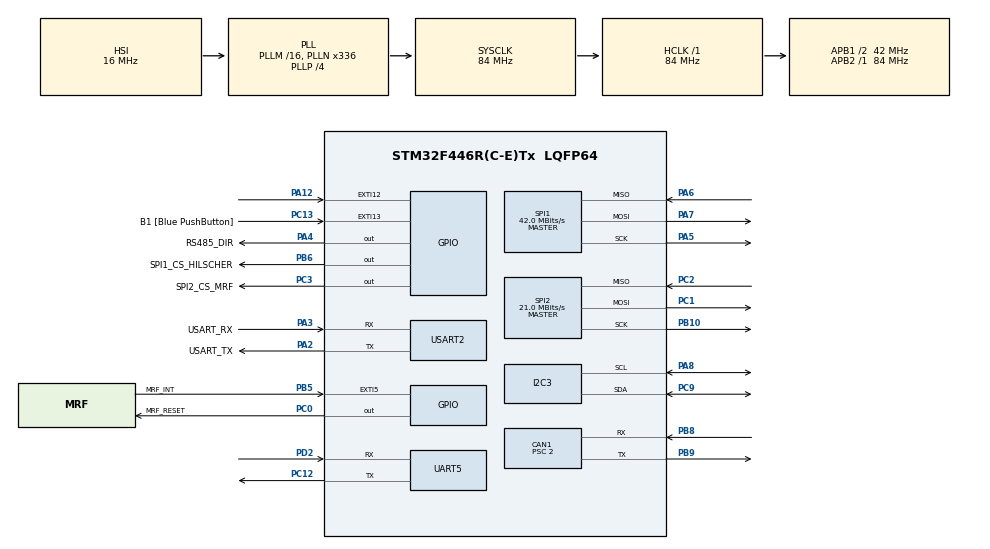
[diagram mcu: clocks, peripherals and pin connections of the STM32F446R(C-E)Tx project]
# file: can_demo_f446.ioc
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CAN1.BS1=CAN_BS1_12TQ
CAN1.BS2=CAN_BS2_8TQ
CAN1.CalculateBaudRate=1000000
CAN1.CalculateTimeBit=1000
CAN1.CalculateTimeQuantum=47.61904761904762
CAN1.Prescaler=2
CAN1.SJW=CAN_SJW_1TQ
Dma.Request0=UART5_RX
Dma.UART5_RX.0.Direction=DMA_PERIPH_TO_MEMORY
Dma.UART5_RX.0.FIFOMode=DMA_FIFOMODE_DISABLE
Dma.UART5_RX.0.Instance=DMA1_Stream0
Dma.UART5_RX.0.MemDataAlignment=DMA_MDATAALIGN_BYTE
Dma.UART5_RX.0.MemInc=DMA_MINC_ENABLE
Dma.UART5_RX.0.Mode=DMA_NORMAL
Dma.UART5_RX.0.PeriphDataAlignment=DMA_PDATAALIGN_BYTE
Dma.UART5_RX.0.PeriphInc=DMA_PINC_DISABLE
Dma.UART5_RX.0.Priority=DMA_PRIORITY_LOW
Mcu.Family=STM32F4
Mcu.Name=STM32F446R(C-E)Tx
Mcu.Package=LQFP64
NVIC.CAN1_RX0_IRQn=true\:0\:0\:false\:false\:true\:true\:true\:true
NVIC.DMA1_Stream0_IRQn=true\:0\:0\:false\:false\:true\:false\:true\:true
NVIC.EXTI9_5_IRQn=true\:0\:0\:false\:false\:true\:true\:true\:true
NVIC.I2C3_EV_IRQn=true\:0\:0\:false\:false\:true\:true\:true\:true
NVIC.PriorityGroup=NVIC_PRIORITYGROUP_0
NVIC.USART2_IRQn=true\:0\:0\:false\:false\:true\:true\:true\:true
PA0-WKUP.Signal=UART4_TX
PA1.Signal=UART4_RX
PA12.Signal=GPXTI12
PA13.GPIO_Label=TMS
PA13.Mode=Serial_Wire
PA13.Signal=SYS_JTMS-SWDIO
PA14.GPIO_Label=TCK
PA14.Mode=Serial_Wire
PA14.Signal=SYS_JTCK-SWCLK
PA2.GPIO_Label=USART_TX
PA2.Mode=Asynchronous
PA2.Signal=USART2_TX
PA3.GPIO_Label=USART_RX
PA3.Mode=Asynchronous
PA3.Signal=USART2_RX
PA4.GPIO_Label=RS485_DIR
PA4.Signal=GPIO_Output
PA5.Mode=Full_Duplex_Master
PA5.Signal=SPI1_SCK
PA6.Mode=Full_Duplex_Master
PA6.Signal=SPI1_MISO
PA7.Mode=Full_Duplex_Master
PA7.Signal=SPI1_MOSI
PA8.Mode=I2C
PA8.Signal=I2C3_SCL
PB10.Mode=Full_Duplex_Master
PB10.Signal=SPI2_SCK
PB5.GPIO_Label=MRF_INT
PB5.GPIO_ModeDefaultEXTI=GPIO_MODE_IT_RISING
PB5.Signal=GPXTI5
PB6.GPIO_Label=SPI1_CS_HILSCHER
PB6.Signal=GPIO_Output
PB8.Mode=CAN_Activate
PB8.Signal=CAN1_RX
PB9.Mode=CAN_Activate
PB9.Signal=CAN1_TX
PC0.GPIO_Label=MRF_RESET
PC0.Signal=GPIO_Output
PC1.Mode=Full_Duplex_Master
PC1.Signal=SPI2_MOSI
PC12.Mode=Asynchronous
PC12.Signal=UART5_TX
PC13.GPIO_Label=B1 [Blue PushButton]
PC13.GPIO_ModeDefaultEXTI=GPIO_MODE_IT_FALLING
PC13.Signal=GPXTI13
PC2.Mode=Full_Duplex_Master
PC2.Signal=SPI2_MISO
PC3.GPIO_Label=SPI2_CS_MRF
PC3.Signal=GPIO_Output
PC9.Mode=I2C
PC9.Signal=I2C3_SDA
PD2.Mode=Asynchronous
PD2.Signal=UART5_RX
PH0-OSC_IN.Mode=HSE-External-Oscillator
PH0-OSC_IN.Signal=RCC_OSC_IN
PH1-OSC_OUT.Mode=HSE-External-Oscillator
PH1-OSC_OUT.Signal=RCC_OSC_OUT
ProjectManager.HeapSize=0x2000
ProjectManager.StackSize=0x4000
ProjectManager.TargetToolchain=STM32CubeIDE
RCC.48MHZClocksFreq_Value=84000000
RCC.AHBFreq_Value=84000000
RCC.APB1CLKDivider=RCC_HCLK_DIV2
RCC.APB1Freq_Value=42000000
RCC.APB1TimFreq_Value=84000000
RCC.APB2Freq_Value=84000000
RCC.APB2TimFreq_Value=84000000
RCC.CortexFreq_Value=84000000
RCC.FLatency-AdvancedSettings=FLASH_LATENCY_2
RCC.HCLKFreq_Value=84000000
RCC.HSE_VALUE=8000000
RCC.HSI_VALUE=16000000
RCC.PLLN=336
RCC.PLLP=RCC_PLLP_DIV4
RCC.SYSCLKFreq_VALUE=84000000
RCC.SYSCLKSource=RCC_SYSCLKSOURCE_PLLCLK
RCC.USBFreq_Value=168000000
RCC.VCOOutputFreq_Value=336000000
SPI1.CalculateBaudRate=42.0 MBits/s
SPI1.Direction=SPI_DIRECTION_2LINES
SPI1.Mode=SPI_MODE_MASTER
SPI1.VirtualType=VM_MASTER
SPI2.CalculateBaudRate=21.0 MBits/s
SPI2.Direction=SPI_DIRECTION_2LINES
SPI2.Mode=SPI_MODE_MASTER
SPI2.VirtualType=VM_MASTER
UART5.VirtualMode=Asynchronous
USART2.VirtualMode=VM_ASYNC
board=NUCLEO-F446RE

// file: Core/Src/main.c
/* USER CODE BEGIN Header */
/**
  ******************************************************************************
  * @file           : main.c
  * @brief          : Main program body
  ******************************************************************************
  * @attention
  *
  * Copyright (c) 2022 STMicroelectronics.
  * All rights reserved.
  *
  * This software is licensed under terms that can be found in the LICENSE file
  * in the root directory of this software component.
  * If no LICENSE file comes with this software, it is provided AS-IS.
  * STUDENTJE EDIT
  ******************************************************************************
  */
/* USER CODE END Header */
#include "main.h"

/* USER CODE BEGIN Includes */
#include "string.h"
#include "mpu6050.h"
#include "DDSM115.h"
#include "MRF24J40.h"
/* USER CODE END Includes */

/* USER CODE BEGIN PD */

#ifndef XIAOMI_CYBERGEAR_DEFS_H
#define XIAOMI_CYBERGEAR_DEFS_H

#define CMD_POSITION                  0x1
#define CMD_REQUEST                   0x2
#define CMD_ENABLE                    0x3
#define CMD_STOP                      0x4
#define CMD_SET_MECH_POSITION_TO_ZERO 0x6
#define CMD_SET_CAN_ID                0x7
#define CMD_RAM_READ                 0x11
#define CMD_RAM_WRITE                0x12
#define CMD_GET_STATUS               0x15

#define ADDR_SPEED_KP              0x2014
#define ADDR_SPEED_KI              0x2015
#define ADDR_POSITION_KP           0x2016
#define ADDR_RUN_MODE              0x7005
#define ADDR_I_REF                 0x7006
#define ADDR_SPEED_REF             0x700A
#define ADDR_LIMIT_TORQUE          0x700B
#define ADDR_CURRENT_KP            0x7010
#define ADDR_CURRENT_KI            0x7011
#define ADDR_CURRENT_FILTER_GAIN   0x7014
#define ADDR_POSITION_REF          0x7016
#define ADDR_LIMIT_SPEED           0x7017
#define ADDR_LIMIT_CURRENT         0x7018

#define MODE_MOTION                  0x00
#define MODE_POSITION                0x01
#define MODE_SPEED                   0x02
#define MODE_CURRENT                 0x03

#define POS_MIN                   -12.5f
#define POS_MAX                    12.5f
#define V_MIN                     -30.0f
#define V_MAX                      30.0f
#define KP_MIN                      0.0f
#define KP_MAX                    500.0f
#define KI_MIN                      0.0f
#define KI_MAX                     10.0f
#define KD_MIN                      0.0f
#define KD_MAX                      5.0f
#define T_MIN                     -12.0f
#define T_MAX                      12.0f
#define I_MIN                     -27.0f
#define I_MAX                      27.0f
#define CURRENT_FILTER_GAIN_MIN     0.0f
#define CURRENT_FILTER_GAIN_MAX     1.0f

#define RET_CYBERGEAR_OK              0x00
#define RET_CYBERGEAR_MSG_NOT_AVAIL   0x01
#define RET_CYBERGEAR_INVALID_CAN_ID  0x02
#define RET_CYBERGEAR_INVALID_PACKET  0x03

#endif // !XIAOMI_CYBERGEAR_DEFS_H

/* USER CODE END PD */

CAN_HandleTypeDef hcan1;

I2C_HandleTypeDef hi2c3;

SPI_HandleTypeDef hspi1;
SPI_HandleTypeDef hspi2;

UART_HandleTypeDef huart5;
UART_HandleTypeDef huart2;
DMA_HandleTypeDef hdma_uart5_rx;

/* USER CODE BEGIN PV */
CAN_TxHeaderTypeDef pTxHeader;
CAN_RxHeaderTypeDef pRxHeader;
CAN_FilterTypeDef sFilterConfig;
uint32_t pTxMailbox;

uint8_t received_data[8];

// UART
char RxUARTBuffer[256]="";
uint8_t RxUARTLength=0;
uint8_t RxSingleByte;
uint8_t onFlag = 0;
// uint8_t MOTOR_ID = 18;

extern rx_info_t rx_info;//MRF
extern tx_info_t tx_info;//MRF
/* USER CODE END PV */

void SystemClock_Config(void);
static void MX_GPIO_Init(void);
static void MX_DMA_Init(void);
static void MX_USART2_UART_Init(void);
static void MX_CAN1_Init(void);
static void MX_I2C3_Init(void);
static void MX_UART5_Init(void);
static void MX_SPI1_Init(void);
static void MX_SPI2_Init(void);
/* USER CODE BEGIN PFP */
void HAL_CAN_RxFifo0MsgPendingCallback(CAN_HandleTypeDef *hcan);
void serialWrite(char data[]);
void serialProcessRxData();
void HAL_UART_RxCpltCallback(UART_HandleTypeDef *huart);

void stop_motor(uint8_t motor_ID);
void enable_motor(uint8_t motor_ID);
void init_motor(uint8_t mode,uint8_t motor_ID);
void set_run_mode (uint8_t mode,  uint8_t motor_ID);
void send_can_float_package(uint8_t motor_ID, uint16_t addr, float value, float min, float max);
void set_limit_torque (float value, uint8_t motor_ID,  float min, float max);
void set_limit_current (float value, uint8_t motor_ID,  float min, float max);
void set_limit_speed (float value, uint8_t motor_ID,  float min, float max);
void set_position_ref(float position, uint8_t motorID);
HAL_StatusTypeDef writeParameter(uint16_t paramIndex, const volatile void* paramValue,
                                 uint8_t hostID, uint8_t motorID);
HAL_StatusTypeDef getMotorDeviceID(uint8_t hostID, uint8_t motorID);

extern uint8_t RS485_RxBuffer[RS485_BUFFER_SIZE];
extern uint8_t AllocBuffer[RS485_BUFFER_SIZE];
/* USER CODE END PFP */

/* USER CODE BEGIN 0 */
MPU6050_t MPU6050;
char buffer[100];
extern double roll_kalman, pitch_kalman;
extern float VPCnum;
uint8_t read_intstat, read_intcon, read_RXMCR, read_BBREG1,read_RXFLUSH, frame_length;
/* USER CODE END 0 */

int main(void)
{

  /* MCU Configuration--------------------------------------------------------*/

  /* Reset of all peripherals, Initializes the Flash interface and the Systick. */
  HAL_Init();

  /* Configure the system clock */
  SystemClock_Config();

  /* Initialize all configured peripherals */
  MX_GPIO_Init();
 // MX_DMA_Init();
  MX_USART2_UART_Init();
  MX_CAN1_Init();
  MX_I2C3_Init();
  MX_UART5_Init();
  MX_SPI1_Init();
  MX_SPI2_Init();
  /* USER CODE BEGIN 2 */
  // UART
  __HAL_UART_ENABLE_IT(&huart2, UART_IT_TC);
  __HAL_UART_ENABLE_IT(&huart2, UART_IT_RXNE);
  HAL_UART_Receive_IT(&huart2, &RxSingleByte, 1);
  //char buffer[11] = "HelloWorld\n";
  //HAL_UART_Transmit_IT(&huart2,(uint8_t *) buffer, 11);
  HAL_UART_Transmit(&huart2, buffer, strlen(buffer),1000);

  /*  UART 4 - RS485 */
  //HAL_UART_Receive_DMA(&huart5,RS485_RxBuffer,10); //DMA interrupt RECEIVE  //__HAL_UART_ENABLE_IT(&huart4, UART_IT_RXNE);

  // CAN
  // Konfiguracija zaglavja sporocila (posiljanje sporocila)

    // Konfiguracija CAN filtra (prejemanje sporocila)
    sFilterConfig.FilterBank = 0;
    sFilterConfig.FilterMode = CAN_FILTERMODE_IDMASK;
    sFilterConfig.FilterScale = CAN_FILTERSCALE_32BIT;
    sFilterConfig.FilterIdHigh = 0x00;//0x12<<5; // ID naprave je 0x11
    sFilterConfig.FilterIdLow = 0;
    sFilterConfig.FilterMaskIdHigh = 0;
    sFilterConfig.FilterMaskIdLow = 0;
    sFilterConfig.FilterFIFOAssignment = CAN_FILTER_FIFO0;
    sFilterConfig.FilterActivation = ENABLE;
    sFilterConfig.SlaveStartFilterBank = 14;

     HAL_CAN_ConfigFilter(&hcan1, &sFilterConfig);

     // Zagon CAN 1 vmesnika
     HAL_CAN_Start(&hcan1);
     // Zagon prekinitev na prejemni strani
     HAL_CAN_ActivateNotification(&hcan1, CAN_IT_RX_FIFO0_MSG_PENDING); // potrebujemo za prejemanje

          //I2C INIT

          // MPU6050_Init(&hi2c3);
          //uint8_t motor_ID = 18;

          uint8_t motorIDs[4] = {17, 18, 19, 20};
          float motorPos[4] = {0, 0, 0, 0};

          //init_motor(MODE_POSITION,  motor_ID);

          for(int i = 0; i < 4; i++)
          {
              getMotorDeviceID(0x01, motorIDs[i]);
              HAL_Delay(50);
          }

          // getMotorDeviceID(0x01, motor_ID);

          //  getMotorDeviceID(0x01, motor_ID2);
          //  getMotorDeviceID(0x01, motor_ID3);
          // getMotorDeviceID(0x01, motor_ID4);

//          Mrf24j_reset();
//          Mrf24j_init();
//
//          Mrf24j_set_channel(20);
//          Mrf24j_rx_flush();
//          uint8_t rxflush = 15;
//          //  Mrf24j_rx_enable();
//          rxflush = Mrf24j_read_short(MRF_RXFLUSH);
//
//          char one[] = "Hello world";
//          int da_size = sizeof(one) / sizeof(char);
//
//            	// This is _our_ address
//
//          Mrf24j_send16(0xAAff, one, da_size);
//
//
//          while(1){
//        	  read_intstat = Mrf24j_read_short(MRF_INTSTAT);
//         	  if(read_intstat & 0b00001000) //interrupt occured
//         	  {
//         		  frame_length = Mrf24j_read_long(0x300);
//         		  //HAL_UART_Transmit (&huart3, "interrupt main\r\n", strlen("interrupt main\r\n"), HAL_MAX_DELAY);
//
//         	  }
//          }

  /* USER CODE END 2 */

  /* Infinite loop */
  /* USER CODE BEGIN WHILE */

          float curr_pos = 0;

          for(int i = 0; i < 4; i++)
          {
              set_limit_speed(10.0f, motorIDs[i], 0.0f, V_MAX);
              set_limit_current(5.0f, motorIDs[i], 0.0f, I_MAX);

              stop_motor(motorIDs[i]);
              HAL_Delay(50);

              enable_motor(motorIDs[i]);
              HAL_Delay(100);

              uint8_t runMode = 1; 			// position mode
              writeParameter(0x7005, &runMode, 0xFE, motorIDs[i]);

              set_position_ref(0.0f, motorIDs[i]);
          }

//          set_limit_speed(10.0f, motor_ID, 0.0f, V_MAX); //set the maximum speed of the motor
//          set_limit_current(5.0,motor_ID, 0.0f, I_MAX); //current limit allows faster operation
//          stop_motor(motor_ID); //spremenil
//          HAL_Delay(100);		//spremenil
//          enable_motor(motor_ID); // turn on the
//          HAL_Delay(200); 		//spremenil
//          set_run_mode(1, motor_ID);
//          uint8_t runMode = 1; // 1 => position mode
//
//          writeParameter(0x7005, &runMode, /*hostID=*/0xFE, /*motorID=*/motor_ID);
//          set_position_ref(0.0,motor_ID);

          /*DDSM_115*/
          /* GET motor ID */
//          	  GetMotorID();
//          	  MOTOR_ID= RS485_RxBuffer[0]; //GET ID VALUE -EXAMPLE
//
//          	  /* Motor mode*/
//          		  //CurrentMode(MOTOR_ID);
//          		   VelocityMode(MOTOR_ID);
//          	  	  //PositionMode(MOTOR_ID);
//          		 VPCnum=50;

  while (1) {/*
	  if(received_data[0] == 1){
		  HAL_GPIO_WritePin(GPIOA, LD1_Pin, GPIO_PIN_SET);
	  }else{
		  HAL_GPIO_WritePin(GPIOA, LD1_Pin, GPIO_PIN_RESET);
	  }*/
	   //init_motor(MODE_POSITION);

	  curr_pos = curr_pos+1;

	  set_position_ref(curr_pos, motorIDs[0]);
	  HAL_Delay(5);
	  set_position_ref(curr_pos, motorIDs[1]);
	  HAL_Delay(5);
	  set_position_ref(curr_pos, motorIDs[2]);
	  HAL_Delay(5);
	  set_position_ref(curr_pos, motorIDs[3]);
	  HAL_Delay(5);

//	  stop_motor(motorIDs[0]);
//	  stop_motor(motorIDs[1]);
//	  stop_motor(motorIDs[2]);
//	  stop_motor(motorIDs[3]);

	  /*DDSM_115 Control*/
	      //sendCurrentCommand(MOTOR_ID, VPCnum);
	  	 //  sendVelocityCommand(MOTOR_ID, VPCnum);//-200 200
	  	  //sendPositionCommand(MOTOR_ID, VPCnum);
	//  HAL_Delay(5000);
	 // Mrf24j_send16(0xAAff, one, da_size);
	 // HAL_CAN_AddTxMessage(&hcan1, &pTxHeader, data, &pTxMailbox);

	  //HAL_Delay(1000);

    /* USER CODE END WHILE */

    /* USER CODE BEGIN 3 */
		 /*Read*/

		// MPU6050_Read_All(&hi2c3, &MPU6050);

		 //Calculate Pitch and Roll angle from ACC and call Kalman filter function
		// Acc_ptich_roll_Kalman(&MPU6050);

		//sprintf(buffer,"Roll: %.2f  Pitch: %.2f \n\r",roll_kalman, pitch_kalman);
		//sprintf(buffer,"Roll: %.2f  Pitch: %.2f \n\r",3, 1);
	//	HAL_UART_Transmit(&huart2, buffer, strlen(buffer), 1000);
	    HAL_Delay(10);
  }
  /* USER CODE END 3 */
}

void SystemClock_Config(void)
{
  RCC_OscInitTypeDef RCC_OscInitStruct = {0};
  RCC_ClkInitTypeDef RCC_ClkInitStruct = {0};

  /** Configure the main internal regulator output voltage
  */
  __HAL_RCC_PWR_CLK_ENABLE();
  __HAL_PWR_VOLTAGESCALING_CONFIG(PWR_REGULATOR_VOLTAGE_SCALE3);

  /** Initializes the RCC Oscillators according to the specified parameters
  * in the RCC_OscInitTypeDef structure.
  */
  RCC_OscInitStruct.OscillatorType = RCC_OSCILLATORTYPE_HSI;
  RCC_OscInitStruct.HSIState = RCC_HSI_ON;
  RCC_OscInitStruct.HSICalibrationValue = RCC_HSICALIBRATION_DEFAULT;
  RCC_OscInitStruct.PLL.PLLState = RCC_PLL_ON;
  RCC_OscInitStruct.PLL.PLLSource = RCC_PLLSOURCE_HSI;
  RCC_OscInitStruct.PLL.PLLM = 16;
  RCC_OscInitStruct.PLL.PLLN = 336;
  RCC_OscInitStruct.PLL.PLLP = RCC_PLLP_DIV4;
  RCC_OscInitStruct.PLL.PLLQ = 2;
  RCC_OscInitStruct.PLL.PLLR = 2;
  if (HAL_RCC_OscConfig(&RCC_OscInitStruct) != HAL_OK)
  {
    Error_Handler();
  }

  /** Initializes the CPU, AHB and APB buses clocks
  */
  RCC_ClkInitStruct.ClockType = RCC_CLOCKTYPE_HCLK|RCC_CLOCKTYPE_SYSCLK
                              |RCC_CLOCKTYPE_PCLK1|RCC_CLOCKTYPE_PCLK2;
  RCC_ClkInitStruct.SYSCLKSource = RCC_SYSCLKSOURCE_PLLCLK;
  RCC_ClkInitStruct.AHBCLKDivider = RCC_SYSCLK_DIV1;
  RCC_ClkInitStruct.APB1CLKDivider = RCC_HCLK_DIV2;
  RCC_ClkInitStruct.APB2CLKDivider = RCC_HCLK_DIV1;

  if (HAL_RCC_ClockConfig(&RCC_ClkInitStruct, FLASH_LATENCY_2) != HAL_OK)
  {
    Error_Handler();
  }
}

static void MX_CAN1_Init(void)
{

  hcan1.Instance = CAN1;
  hcan1.Init.Prescaler = 2;
  hcan1.Init.Mode = CAN_MODE_NORMAL;
  hcan1.Init.SyncJumpWidth = CAN_SJW_1TQ;
  hcan1.Init.TimeSeg1 = CAN_BS1_12TQ;
  hcan1.Init.TimeSeg2 = CAN_BS2_8TQ;
  hcan1.Init.TimeTriggeredMode = DISABLE;
  hcan1.Init.AutoBusOff = DISABLE;
  hcan1.Init.AutoWakeUp = DISABLE;
  hcan1.Init.AutoRetransmission = DISABLE;
  hcan1.Init.ReceiveFifoLocked = DISABLE;
  hcan1.Init.TransmitFifoPriority = DISABLE;
  if (HAL_CAN_Init(&hcan1) != HAL_OK)
  {
    Error_Handler();
  }

}

static void MX_I2C3_Init(void)
{

  hi2c3.Instance = I2C3;
  hi2c3.Init.ClockSpeed = 100000;
  hi2c3.Init.DutyCycle = I2C_DUTYCYCLE_2;
  hi2c3.Init.OwnAddress1 = 0;
  hi2c3.Init.AddressingMode = I2C_ADDRESSINGMODE_7BIT;
  hi2c3.Init.DualAddressMode = I2C_DUALADDRESS_DISABLE;
  hi2c3.Init.OwnAddress2 = 0;
  hi2c3.Init.GeneralCallMode = I2C_GENERALCALL_DISABLE;
  hi2c3.Init.NoStretchMode = I2C_NOSTRETCH_DISABLE;
  if (HAL_I2C_Init(&hi2c3) != HAL_OK)
  {
    Error_Handler();
  }

}

static void MX_SPI1_Init(void)
{

  /* SPI1 parameter configuration*/
  hspi1.Instance = SPI1;
  hspi1.Init.Mode = SPI_MODE_MASTER;
  hspi1.Init.Direction = SPI_DIRECTION_2LINES;
  hspi1.Init.DataSize = SPI_DATASIZE_8BIT;
  hspi1.Init.CLKPolarity = SPI_POLARITY_LOW;
  hspi1.Init.CLKPhase = SPI_PHASE_1EDGE;
  hspi1.Init.NSS = SPI_NSS_SOFT;
  hspi1.Init.BaudRatePrescaler = SPI_BAUDRATEPRESCALER_2;
  hspi1.Init.FirstBit = SPI_FIRSTBIT_MSB;
  hspi1.Init.TIMode = SPI_TIMODE_DISABLE;
  hspi1.Init.CRCCalculation = SPI_CRCCALCULATION_DISABLE;
  hspi1.Init.CRCPolynomial = 10;
  if (HAL_SPI_Init(&hspi1) != HAL_OK)
  {
    Error_Handler();
  }

}

static void MX_SPI2_Init(void)
{

  /* SPI2 parameter configuration*/
  hspi2.Instance = SPI2;
  hspi2.Init.Mode = SPI_MODE_MASTER;
  hspi2.Init.Direction = SPI_DIRECTION_2LINES;
  hspi2.Init.DataSize = SPI_DATASIZE_8BIT;
  hspi2.Init.CLKPolarity = SPI_POLARITY_LOW;
  hspi2.Init.CLKPhase = SPI_PHASE_1EDGE;
  hspi2.Init.NSS = SPI_NSS_SOFT;
  hspi2.Init.BaudRatePrescaler = SPI_BAUDRATEPRESCALER_2;
  hspi2.Init.FirstBit = SPI_FIRSTBIT_MSB;
  hspi2.Init.TIMode = SPI_TIMODE_DISABLE;
  hspi2.Init.CRCCalculation = SPI_CRCCALCULATION_DISABLE;
  hspi2.Init.CRCPolynomial = 10;
  if (HAL_SPI_Init(&hspi2) != HAL_OK)
  {
    Error_Handler();
  }

}

static void MX_UART5_Init(void)
{

  huart5.Instance = UART5;
  huart5.Init.BaudRate = 115200;
  huart5.Init.WordLength = UART_WORDLENGTH_8B;
  huart5.Init.StopBits = UART_STOPBITS_1;
  huart5.Init.Parity = UART_PARITY_NONE;
  huart5.Init.Mode = UART_MODE_TX_RX;
  huart5.Init.HwFlowCtl = UART_HWCONTROL_NONE;
  huart5.Init.OverSampling = UART_OVERSAMPLING_16;
  if (HAL_UART_Init(&huart5) != HAL_OK)
  {
    Error_Handler();
  }

}

static void MX_USART2_UART_Init(void)
{

  huart2.Instance = USART2;
  huart2.Init.BaudRate = 115200;
  huart2.Init.WordLength = UART_WORDLENGTH_8B;
  huart2.Init.StopBits = UART_STOPBITS_1;
  huart2.Init.Parity = UART_PARITY_NONE;
  huart2.Init.Mode = UART_MODE_TX_RX;
  huart2.Init.HwFlowCtl = UART_HWCONTROL_NONE;
  huart2.Init.OverSampling = UART_OVERSAMPLING_16;
  if (HAL_UART_Init(&huart2) != HAL_OK)
  {
    Error_Handler();
  }

}

static void MX_DMA_Init(void)
{

  /* DMA controller clock enable */
  __HAL_RCC_DMA1_CLK_ENABLE();

  /* DMA interrupt init */
  /* DMA1_Stream0_IRQn interrupt configuration */
  HAL_NVIC_SetPriority(DMA1_Stream0_IRQn, 0, 0);
  HAL_NVIC_EnableIRQ(DMA1_Stream0_IRQn);

}

static void MX_GPIO_Init(void)
{
  GPIO_InitTypeDef GPIO_InitStruct = {0};

  /* GPIO Ports Clock Enable */
  __HAL_RCC_GPIOC_CLK_ENABLE();
  __HAL_RCC_GPIOH_CLK_ENABLE();
  __HAL_RCC_GPIOA_CLK_ENABLE();
  __HAL_RCC_GPIOB_CLK_ENABLE();
  __HAL_RCC_GPIOD_CLK_ENABLE();

  /*Configure GPIO pin Output Level */
  HAL_GPIO_WritePin(GPIOC, MRF_RESET_Pin|SPI2_CS_MRF_Pin, GPIO_PIN_RESET);

  /*Configure GPIO pin Output Level */
  HAL_GPIO_WritePin(RS485_DIR_GPIO_Port, RS485_DIR_Pin, GPIO_PIN_RESET);

  /*Configure GPIO pin Output Level */
  HAL_GPIO_WritePin(SPI1_CS_HILSCHER_GPIO_Port, SPI1_CS_HILSCHER_Pin, GPIO_PIN_RESET);

  /*Configure GPIO pin : B1_Pin */
  GPIO_InitStruct.Pin = B1_Pin;
  GPIO_InitStruct.Mode = GPIO_MODE_IT_FALLING;
  GPIO_InitStruct.Pull = GPIO_NOPULL;
  HAL_GPIO_Init(B1_GPIO_Port, &GPIO_InitStruct);

  /*Configure GPIO pins : MRF_RESET_Pin SPI2_CS_MRF_Pin */
  GPIO_InitStruct.Pin = MRF_RESET_Pin|SPI2_CS_MRF_Pin;
  GPIO_InitStruct.Mode = GPIO_MODE_OUTPUT_PP;
  GPIO_InitStruct.Pull = GPIO_NOPULL;
  GPIO_InitStruct.Speed = GPIO_SPEED_FREQ_LOW;
  HAL_GPIO_Init(GPIOC, &GPIO_InitStruct);

  /*Configure GPIO pins : PA0 PA1 */
  GPIO_InitStruct.Pin = GPIO_PIN_0|GPIO_PIN_1;
  GPIO_InitStruct.Mode = GPIO_MODE_AF_PP;
  GPIO_InitStruct.Pull = GPIO_NOPULL;
  GPIO_InitStruct.Speed = GPIO_SPEED_FREQ_VERY_HIGH;
  GPIO_InitStruct.Alternate = GPIO_AF8_UART4;
  HAL_GPIO_Init(GPIOA, &GPIO_InitStruct);

  /*Configure GPIO pin : RS485_DIR_Pin */
  GPIO_InitStruct.Pin = RS485_DIR_Pin;
  GPIO_InitStruct.Mode = GPIO_MODE_OUTPUT_PP;
  GPIO_InitStruct.Pull = GPIO_NOPULL;
  GPIO_InitStruct.Speed = GPIO_SPEED_FREQ_LOW;
  HAL_GPIO_Init(RS485_DIR_GPIO_Port, &GPIO_InitStruct);

  /*Configure GPIO pin : PA12 */
  GPIO_InitStruct.Pin = GPIO_PIN_12;
  GPIO_InitStruct.Mode = GPIO_MODE_IT_RISING;
  GPIO_InitStruct.Pull = GPIO_NOPULL;
  HAL_GPIO_Init(GPIOA, &GPIO_InitStruct);

  /*Configure GPIO pin : MRF_INT_Pin */
  GPIO_InitStruct.Pin = MRF_INT_Pin;
  GPIO_InitStruct.Mode = GPIO_MODE_IT_RISING;
  GPIO_InitStruct.Pull = GPIO_NOPULL;
  HAL_GPIO_Init(MRF_INT_GPIO_Port, &GPIO_InitStruct);

  /*Configure GPIO pin : SPI1_CS_HILSCHER_Pin */
  GPIO_InitStruct.Pin = SPI1_CS_HILSCHER_Pin;
  GPIO_InitStruct.Mode = GPIO_MODE_OUTPUT_PP;
  GPIO_InitStruct.Pull = GPIO_NOPULL;
  GPIO_InitStruct.Speed = GPIO_SPEED_FREQ_LOW;
  HAL_GPIO_Init(SPI1_CS_HILSCHER_GPIO_Port, &GPIO_InitStruct);

  /* EXTI interrupt init*/
  HAL_NVIC_SetPriority(EXTI9_5_IRQn, 0, 0);
  HAL_NVIC_EnableIRQ(EXTI9_5_IRQn);

}

/* USER CODE BEGIN 4 */
void HAL_CAN_RxFifo0MsgPendingCallback(CAN_HandleTypeDef *hcan){
	HAL_CAN_GetRxMessage(&hcan1, CAN_RX_FIFO0, &pRxHeader, received_data);
}

void serialWrite(char data[]){
	HAL_UART_Transmit(&huart2, (uint8_t *) data, strlen(data), 10);
	HAL_UART_Transmit(&huart2,(uint8_t *)"\n",1,10);
}

void serialProcessRxData(){
	// Process data
	switch(RxUARTBuffer[0]){
		case '1':
			onFlag = 1;
			HAL_CAN_AddTxMessage(&hcan1, &pTxHeader, (uint8_t *)&onFlag, &pTxMailbox);
			break;
		case '0':
			onFlag = 0;
			HAL_CAN_AddTxMessage(&hcan1, &pTxHeader, (uint8_t *)&onFlag, &pTxMailbox);
			break;
		case 'H':
			serialWrite("Ok");
			break;
		default:
			break;
	}
	RxUARTLength = 0;
}

void HAL_UART_RxCpltCallback(UART_HandleTypeDef *huart)
{
	if(huart->Instance == USART2){
		if(RxSingleByte == '\n')
		{
			serialProcessRxData();
		}else
		{
			RxUARTBuffer[RxUARTLength] = RxSingleByte;
			RxUARTLength++;
		}
		HAL_UART_Receive_IT(&huart2, &RxSingleByte, 1);
	}

	//UART5 DMA
	HAL_UART_Receive_DMA(&huart5,RS485_RxBuffer,10);
	memcpy( AllocBuffer,RS485_RxBuffer,RS485_BUFFER_SIZE);
}

void stop_motor (uint8_t motor_ID) {
	// CAN
    // Konfiguracija zaglavja sporocila (posiljanje sporocila)
	 uint8_t cmd_id = CMD_STOP;
	 uint16_t option = 0x00;
	 uint8_t can_id = motor_ID;

	 pTxHeader.ExtId = cmd_id << 24 | option << 8 | can_id; //CAN ID, motor  ima extended ID (29-bitni)
	 pTxHeader.RTR = CAN_RTR_DATA;
	 pTxHeader.IDE = CAN_ID_EXT;
	 pTxHeader.DLC = 8;
	 pTxHeader.TransmitGlobalTime = DISABLE;

	uint8_t data[8] = {0x00};
	//HAL_CAN_Tx(_cybergear_can_id, CMD_STOP, _master_can_id, 8, data);
	HAL_CAN_AddTxMessage(&hcan1, &pTxHeader, data, &pTxMailbox);
}

void enable_motor (uint8_t motor_ID) {
	// CAN
    // Konfiguracija zaglavja sporocila (posiljanje sporocila)
	uint8_t cmd_id = CMD_ENABLE;
	 uint16_t option = 0x00;
	 uint8_t can_id = motor_ID;

	 pTxHeader.ExtId = cmd_id << 24 | option << 8 | can_id; //CAN ID, motor  ima extended ID (29-bitni)
	 pTxHeader.RTR = CAN_RTR_DATA;
	 pTxHeader.IDE = CAN_ID_EXT;
	 pTxHeader.DLC = 8;//8
	 pTxHeader.TransmitGlobalTime = DISABLE;

	uint8_t data[8] = {0x00};

	HAL_CAN_AddTxMessage(&hcan1, &pTxHeader, data, &pTxMailbox);
}

void set_limit_speed (float value, uint8_t motor_ID,  float min, float max) {
	// CAN
    // Konfiguracija zaglavja sporocila (posiljanje sporocila)
	uint8_t data[8] = {0x00};
	    data[0] = ADDR_LIMIT_SPEED & 0x00FF;
	    data[1] = ADDR_LIMIT_SPEED >> 8;

	    float val = (max < value) ? max : value;
	    val = (min > value) ? min : value;
	    memcpy(&data[4], &val, 4);

	uint8_t cmd_id = CMD_RAM_WRITE;
	 uint16_t option = 0x00;
	 uint8_t can_id = motor_ID;

	 pTxHeader.ExtId = cmd_id << 24 | option << 8 | can_id; //CAN ID, motor  ima extended ID (29-bitni)
	 pTxHeader.RTR = CAN_RTR_DATA;
	 pTxHeader.IDE = CAN_ID_EXT;
	 pTxHeader.DLC = 8;
	 pTxHeader.TransmitGlobalTime = DISABLE;

	//HAL_CAN_Tx(_cybergear_can_id, CMD_STOP, _master_can_id, 8, data);
	HAL_CAN_AddTxMessage(&hcan1, &pTxHeader, data, &pTxMailbox);
}

void set_limit_current (float value, uint8_t motor_ID,  float min, float max) {
	// CAN
    // Konfiguracija zaglavja sporocila (posiljanje sporocila)
	uint8_t data[8] = {0x00};
	    data[0] = ADDR_LIMIT_CURRENT & 0x00FF;
	    data[1] = ADDR_LIMIT_CURRENT >> 8;

	    float val = (max < value) ? max : value;
	    val = (min > value) ? min : value;
	    memcpy(&data[4], &val, 4);

	 uint8_t cmd_id =  CMD_RAM_WRITE;
	 uint16_t option = 0x00;
	 uint8_t can_id = motor_ID;

	 pTxHeader.ExtId = cmd_id << 24 | option << 8 | can_id; //CAN ID, motor  ima extended ID (29-bitni)
	 pTxHeader.RTR = CAN_RTR_DATA;
	 pTxHeader.IDE = CAN_ID_EXT;
	 pTxHeader.DLC = 8;
	 pTxHeader.TransmitGlobalTime = DISABLE;

	//HAL_CAN_Tx(_cybergear_can_id, CMD_STOP, _master_can_id, 8, data);
	HAL_CAN_AddTxMessage(&hcan1, &pTxHeader, data, &pTxMailbox);
}

void set_limit_torque (float value, uint8_t motor_ID,  float min, float max) {
	// CAN
    // Konfiguracija zaglavja sporocila (posiljanje sporocila)
	uint8_t data[8] = {0x00};
	    data[0] = ADDR_LIMIT_TORQUE & 0x00FF;
	    data[1] = ADDR_LIMIT_TORQUE >> 8;

	    float val = (max < value) ? max : value;
	    val = (min > value) ? min : value;
	    memcpy(&data[4], &val, 4);

	uint8_t cmd_id = CMD_RAM_WRITE;
	 uint16_t option = 0x00;
	 uint8_t can_id = motor_ID;

	 pTxHeader.ExtId = cmd_id << 24 | option << 8 | can_id; //CAN ID, motor  ima extended ID (29-bitni)
	 pTxHeader.RTR = CAN_RTR_DATA;
	 pTxHeader.IDE = CAN_ID_EXT;
	 pTxHeader.DLC = 8;
	 pTxHeader.TransmitGlobalTime = DISABLE;

	//HAL_CAN_Tx(_cybergear_can_id, CMD_STOP, _master_can_id, 8, data);
	HAL_CAN_AddTxMessage(&hcan1, &pTxHeader, data, &pTxMailbox);
}

void send_can_float_package(uint8_t motor_ID, uint16_t addr, float value, float min, float max){
    uint8_t data[8] = {0x00};
    data[0] = addr & 0x00FF;
    data[1] = addr >> 8;

    float val = (max < value) ? max : value;
    val = (min > value) ? min : value;
    memcpy(&data[4], &val, 4);
    //_send_can_package(can_id, CMD_RAM_WRITE, _master_can_id, 8, data);

    // CAN
        // Konfiguracija zaglavja sporocila (posiljanje sporocila)
    	uint8_t cmd_id = CMD_RAM_WRITE;
    	 uint16_t option = 0x00;
    	 uint8_t can_id = motor_ID;

    	 pTxHeader.ExtId = cmd_id << 24 | option << 8 | can_id; //CAN ID, motor  ima extended ID (29-bitni)
    	 pTxHeader.RTR = CAN_RTR_DATA;
    	 pTxHeader.IDE = CAN_ID_EXT;
    	 pTxHeader.DLC = 8;
    	 pTxHeader.TransmitGlobalTime = DISABLE;

    HAL_CAN_AddTxMessage(&hcan1, &pTxHeader, data, &pTxMailbox);
}

void set_run_mode (uint8_t mode,  uint8_t motor_ID) {

	    uint8_t data[8] = {0x00};
	    data[0] = ADDR_RUN_MODE & 0x00FF;
	    data[1] = ADDR_RUN_MODE >> 8;
	    data[4] = mode;

	    uint8_t cmd_id = CMD_RAM_WRITE;
	    uint16_t option = 0x00;
	    uint8_t can_id = motor_ID;

	    pTxHeader.ExtId = cmd_id << 24 | option << 8 | can_id; //CAN ID, motor  ima extended ID (29-bitni)
	    pTxHeader.RTR = CAN_RTR_DATA;
	    pTxHeader.IDE = CAN_ID_EXT;
	    pTxHeader.DLC = 8;
	    pTxHeader.TransmitGlobalTime = DISABLE;

	    HAL_CAN_AddTxMessage(&hcan1, &pTxHeader, data, &pTxMailbox);
}

void init_motor (uint8_t mode,uint8_t motor_ID) {
	stop_motor(motor_ID);
	set_run_mode(mode,motor_ID);

}

void set_position_ref(float position,uint8_t motor_ID){
    send_can_float_package(motor_ID, ADDR_POSITION_REF, position, POS_MIN, POS_MAX);
}

HAL_StatusTypeDef writeParameter(uint16_t paramIndex, const volatile void* paramValue,
                                 uint8_t hostID, uint8_t motorID)

{
    CAN_TxHeaderTypeDef txHeader;
    uint32_t txMailbox;
    uint8_t txData[8] = {0};

    // Build extended ID => (type=18)
    uint32_t extId = ((uint32_t)0x12 << 24)
                   | ((uint32_t)hostID << 8)
                   | (uint32_t)motorID;

    txHeader.ExtId = extId;
    txHeader.IDE   = CAN_ID_EXT;
    txHeader.RTR   = CAN_RTR_DATA;
    txHeader.DLC   = 8;
    txHeader.TransmitGlobalTime = DISABLE;

    // Byte0..1 = paramIndex (little-endian)
    txData[0] = (uint8_t)(paramIndex & 0xFF);
    txData[1] = (uint8_t)(paramIndex >> 8);
    // Byte2..3 = 0
    // Byte4..7 = paramValue
    memcpy(&txData[4], paramValue, 4);

    return HAL_CAN_AddTxMessage(&hcan1, &txHeader, txData, &txMailbox);
}

HAL_StatusTypeDef getMotorDeviceID(uint8_t hostID, uint8_t motorID)
{
    CAN_TxHeaderTypeDef txHeader;
    uint32_t txMailbox;
    uint8_t txData[8] = {0};

    // 0 in bits28..24 => get device ID
    uint32_t extId = ((uint32_t)0 << 24)
                   | ((uint32_t)hostID << 8)
                   | (uint32_t)motorID;

    txHeader.ExtId = extId;
    txHeader.IDE   = CAN_ID_EXT;     // extended frame
    txHeader.RTR   = CAN_RTR_DATA;
    txHeader.DLC   = 8;
    txHeader.TransmitGlobalTime = DISABLE;

    // Typically data can be all 0
    memset(txData, 0, 8);

    return HAL_CAN_AddTxMessage(&hcan1, &txHeader, txData, &txMailbox);
}

/* USER CODE END 4 */

void Error_Handler(void)
{
  __disable_irq();
  while (1)
  {
  }
}
